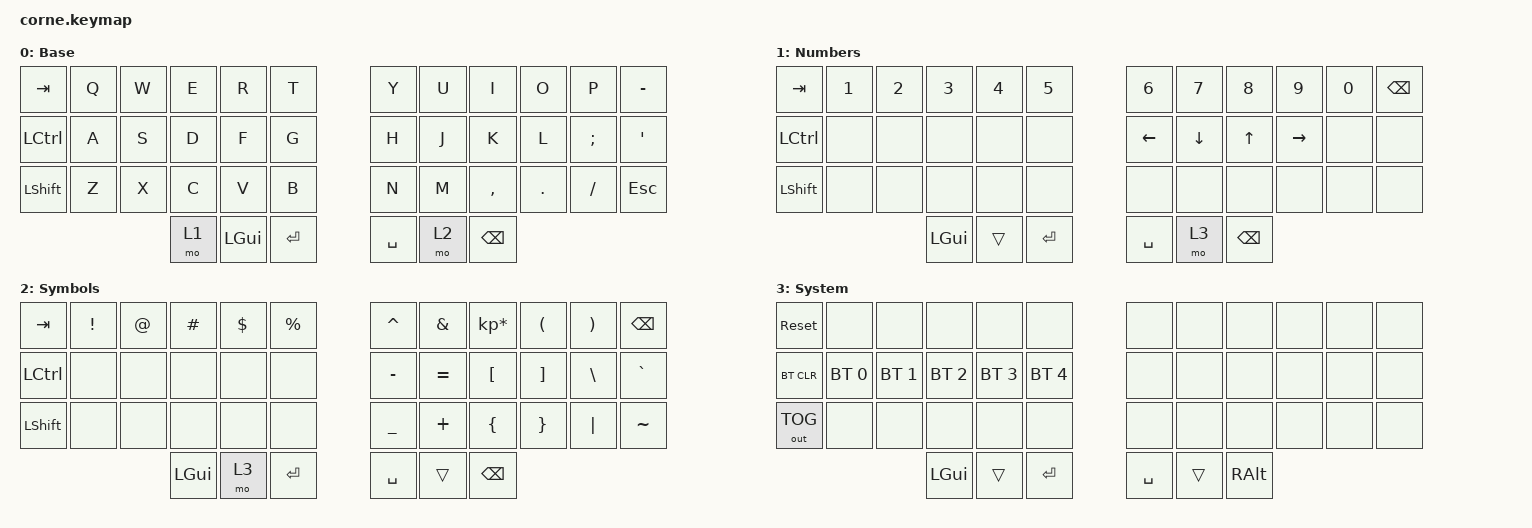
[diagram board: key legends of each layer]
/*
 * Copyright (c) 2020 The ZMK Contributors
 *
 * SPDX-License-Identifier: MIT
 */

#include <behaviors.dtsi>
#include <dt-bindings/zmk/keys.h>
#include <dt-bindings/zmk/bt.h>
#include <dt-bindings/zmk/outputs.h>

/ {
    keymap {
        compatible = "zmk,keymap";

        default_layer {
            display-name = "Base";
            bindings = <
&kp TAB   &kp Q &kp W &kp E &kp R &kp T   &kp Y &kp U  &kp I     &kp O   &kp P    &kp MINUS
&kp LCTRL &kp A &kp S &kp D &kp F &kp G   &kp H &kp J  &kp K     &kp L   &kp SEMI &kp SQT
&kp LSHFT &kp Z &kp X &kp C &kp V &kp B   &kp N &kp M  &kp COMMA &kp DOT &kp FSLH &kp ESC
                &mo 1 &kp LGUI &kp RET   &kp SPACE &mo 2 &kp BSPC
            >;
        };

        lower_layer {
            display-name = "Numbers";
            bindings = <
&kp TAB   &kp N1 &kp N2 &kp N3 &kp N4 &kp N5   &kp N6   &kp N7   &kp N8 &kp N9    &kp N0 &kp BSPC
&kp LCTRL &none  &none  &none  &none  &none    &kp LEFT &kp DOWN &kp UP &kp RIGHT &none  &none
&kp LSHFT &none  &none  &none  &none  &none    &none    &none    &none  &none     &none  &none
                        &kp LGUI &trans &kp RET   &kp SPACE &mo 3 &kp BSPC
            >;
        };

        raise_layer {
            display-name = "Symbols";
            bindings = <
&kp TAB   &kp EXCL &kp AT   &kp HASH &kp DLLR &kp PRCNT   &kp CARET &kp AMPS  &kp KP_MULTIPLY &kp LPAR &kp RPAR &kp BSPC
&kp LCTRL &none    &none    &none    &none    &none       &kp MINUS &kp EQUAL &kp LBKT        &kp RBKT &kp BSLH &kp GRAVE
&kp LSHFT &none    &none    &none    &none    &none       &kp UNDER &kp PLUS  &kp LBRC        &kp RBRC &kp PIPE &kp TILDE
                            &kp LGUI &mo 3 &kp RET        &kp SPACE &trans &kp BSPC
            >;
        };

        adjust_layer {
            display-name = "System";
            bindings = <
&sys_reset &none        &none        &none        &none        &none          &none &none &none &none &none &none
&bt BT_CLR &bt BT_SEL 0 &bt BT_SEL 1 &bt BT_SEL 2 &bt BT_SEL 3 &bt BT_SEL 4   &none &none &none &none &none &none
&out OUT_TOG &none      &none        &none        &none        &none          &none &none &none &none &none &none
                                     &kp LGUI     &trans       &kp RET        &kp SPACE &trans &kp RALT
            >;
        };
    };
};
